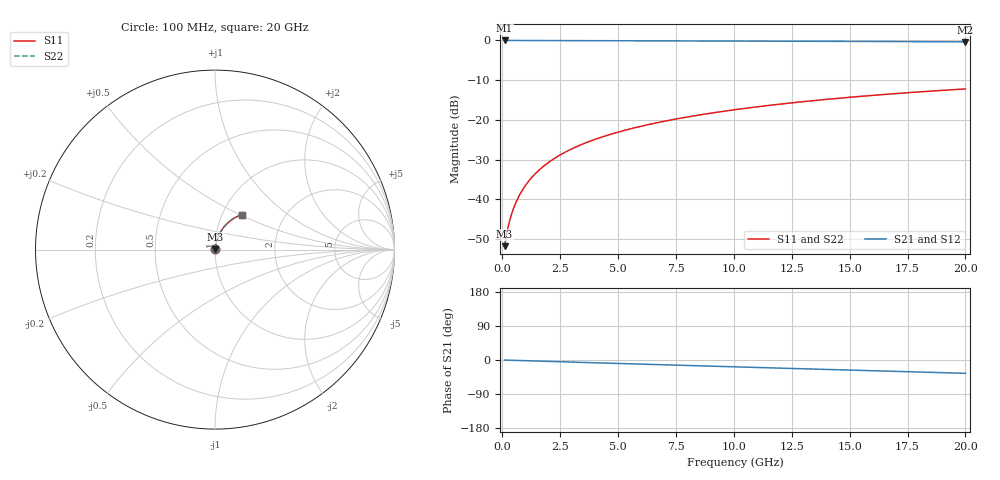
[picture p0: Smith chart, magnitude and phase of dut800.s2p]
! Touchstone file exported from HFSS 2026.1.0
!  File:  C:/ffzhzh/LocalFiles/Ansys_Project_Files/temp_train_BSMRDL_800_1783169704_18472.aedt
!  Generated:  08:56:23 PM Jul  4, 2026
!  Design:  BSMRDL
!  Project:  temp_train_BSMRDL_800_1783169704_18472
! Variables:
!  h_bsmrdl = 5.31um
!  h_ox = 20um
!  h_rdl = 5um
!  h_sub = 80um
!  h_tmrdl = 5um
!  h_tsv = 80um
!  h_via = 3um
!  l_bsmrdl = 560.78um
!  l_sub = 960.78um
!  l_tmrdl = 200um
!  m_sub = 200um
!  pitch = 37.78um
!  r_tsv = 6um
!  s_tmrdl = 10um
!  w_bsmrdl = 20.98um
!  w_sub = 500um
!  w_tmrdl = 12um
!  x_tsv_center1 = 206um
!  x_tsv_center2 = 787.76um
!  x_tsv_center3 = 999.76um
!  x_tsv_center4 = 1581.52um
!  x_tsv_center5 = 1793.52um
!  x_tsv_center6 = 2375.28um
# GHz S MA R 50.000000
! Terminal data exported
! Port[1] = BSM_RDL1_1_T1
! Port[2] = BSM_RDL1_1_T2
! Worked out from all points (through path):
!   200 points, 100 MHz to 20 GHz, reference 50 ohm
!   highest |S21| = -0.02 dB at 100 MHz (marker M1); lowest = -0.4 dB at 20 GHz (marker M2)
!   group delay of S21, straight-line fit = 4.87 ps
!   lowest |S11| = -51.8 dB at 100 MHz (marker M3), VSWR 1.01, Z = 50.2 + j0.167 ohm
!   |S11| at or under -10 dB: start of sweep to end of sweep
!   |S22| runs from -51.8 to -12.2 dB; largest |S21 - S12| = 5.3e-15
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0.1  0.002574 40.2  0.998 -0.2  0.998 -0.2  0.002574 40.2
! Gamma 0 0 0 0
! Port Impedance 50 0 50 0
0.2  0.003839 56.1  0.9979 -0.4  0.9979 -0.4  0.003839 56.1
0.3  0.005166 63.8  0.9978 -0.6  0.9978 -0.6  0.005166 63.8
0.4  0.006517 68.4  0.9977 -0.8  0.9977 -0.8  0.006517 68.4
0.5  0.007891 71.5  0.9976 -0.9  0.9976 -0.9  0.007891 71.5
0.6  0.009283 73.7  0.9975 -1.1  0.9975 -1.1  0.009284 73.7
0.8  0.0121 76.5  0.9974 -1.5  0.9974 -1.5  0.0121 76.5
1.1  0.01638 78.6  0.9972 -2.1  0.9972 -2.1  0.01638 78.6
1.5  0.02209 79.7  0.9969 -2.8  0.9969 -2.8  0.02209 79.7
1.8  0.02636 80.0  0.9966 -3.4  0.9966 -3.4  0.02636 80.0
2.1  0.0306 79.9  0.9963 -3.9  0.9963 -3.9  0.0306 79.9
2.7  0.03899 79.5  0.9955 -5.0  0.9955 -5.0  0.03899 79.5
3.5  0.04999 78.5  0.9944 -6.5  0.9944 -6.5  0.04999 78.5
4.2  0.05945 77.6  0.9933 -7.7  0.9933 -7.7  0.05945 77.6
5  0.0701 76.4  0.9921 -9.2  0.9921 -9.2  0.0701 76.4
5.9  0.0819 75.0  0.9906 -10.8  0.9906 -10.8  0.0819 75.0
6.8  0.09353 73.6  0.9891 -12.4  0.9891 -12.4  0.09353 73.6
8.3  0.1126 71.3  0.9864 -15.0  0.9864 -15.0  0.1126 71.3
10.1  0.1349 68.4  0.9828 -18.2  0.9828 -18.2  0.1349 68.4
13.4  0.1742 63.1  0.9756 -23.9  0.9756 -23.9  0.1742 63.1
16.7  0.211 57.8  0.9675 -29.6  0.9675 -29.6  0.211 57.7
20  0.2451 52.4  0.9588 -35.1  0.9588 -35.1  0.2451 52.4
